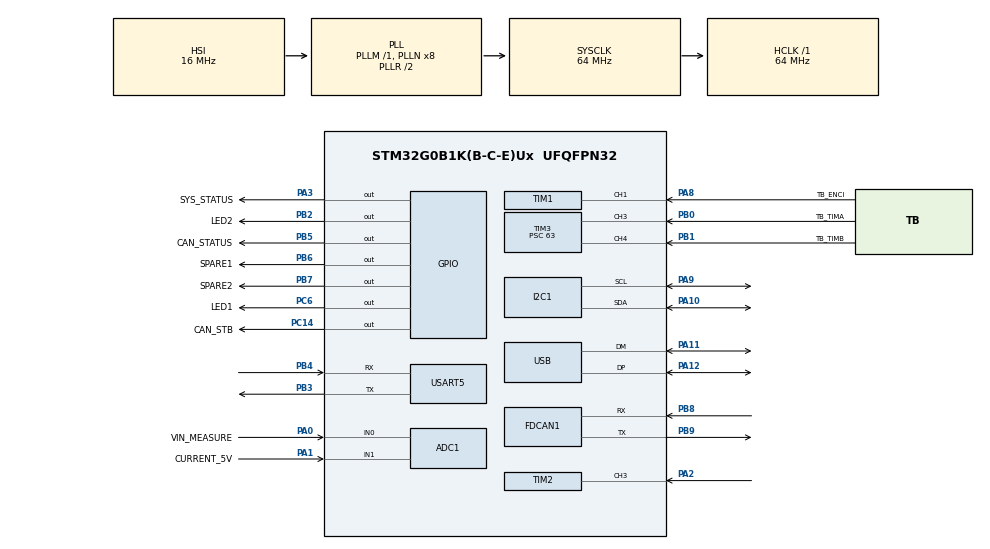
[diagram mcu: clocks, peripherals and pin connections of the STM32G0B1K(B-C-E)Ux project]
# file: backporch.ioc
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ADC1.Channel-0\#ChannelRegularConversion=ADC_CHANNEL_0
ADC1.NbrOfConversionFlag=1
ADC1.Rank-0\#ChannelRegularConversion=1
ADC1.SamplingTime-0\#ChannelRegularConversion=ADC_SAMPLINGTIME_COMMON_1
ADC1.SamplingTimeCommon1=ADC_SAMPLETIME_160CYCLES_5
ADC1.SamplingTimeCommon2=ADC_SAMPLETIME_160CYCLES_5
ADC1.SelectedChannel=ADC_CHANNEL_0|ADC_CHANNEL_1|ADC_CHANNEL_TEMPSENSOR|ADC_CHANNEL_VREFINT
ADC1.master=1
CRC.InputDataFormat=CRC_INPUTDATA_FORMAT_WORDS
FDCAN1.AutoRetransmission=ENABLE
FDCAN1.CalculateBaudRateNominal=1000000
FDCAN1.CalculateTimeBitNominal=1000
FDCAN1.CalculateTimeQuantumNominal=62.5
FDCAN1.FrameFormat=FDCAN_FRAME_FD_BRS
FDCAN1.NominalPrescaler=4
FDCAN1.NominalTimeSeg1=12
FDCAN1.NominalTimeSeg2=3
FREERTOS.Queues01=tofQ,16,uint32_t,0,Static,tofQBuffer,tofQControlBlock
FREERTOS.Tasks01=defaultTask,24,128,StartDefaultTask,Default,NULL,Dynamic,NULL,NULL;canRx,40,128,canRxTask,Default,NULL,Dynamic,NULL,NULL;monTask,8,1024,StartMonTask,Default,NULL,Dynamic,NULL,NULL;canTx,16,128,canTxTask,Default,NULL,Dynamic,NULL,NULL;tof,8,256,tofTask,Default,NULL,Dynamic,NULL,NULL
FREERTOS.configCHECK_FOR_STACK_OVERFLOW=2
FREERTOS.configGENERATE_RUN_TIME_STATS=1
FREERTOS.configTOTAL_HEAP_SIZE=40000
FREERTOS.configUSE_NEWLIB_REENTRANT=0
FREERTOS.configUSE_STATS_FORMATTING_FUNCTIONS=1
I2C1.Timing=0x10B17DB5
IWDG.Prescaler=IWDG_PRESCALER_64
Mcu.Family=STM32G0
Mcu.Name=STM32G0B1K(B-C-E)Ux
Mcu.Package=UFQFPN32
NVIC.ADC1_COMP_IRQn=true\:3\:0\:false\:false\:true\:true\:true\:true\:true
NVIC.RCC_IRQn=true\:3\:0\:false\:false\:true\:true\:true\:false\:true
NVIC.TIM16_FDCAN_IT0_IRQn=true\:3\:0\:false\:false\:true\:true\:true\:true\:true
NVIC.TIM17_FDCAN_IT1_IRQn=true\:3\:0\:false\:false\:true\:true\:true\:true\:true
NVIC.TIM2_IRQn=true\:3\:0\:false\:false\:true\:true\:true\:true\:true
NVIC.TIM3_TIM4_IRQn=true\:3\:0\:false\:false\:true\:true\:true\:true\:true
NVIC.TIM6_DAC_LPTIM1_IRQn=true\:3\:0\:false\:false\:true\:false\:false\:true\:true
NVIC.TimeBase=TIM6_DAC_LPTIM1_IRQn
NVIC.TimeBaseIP=TIM6
NVIC.USB_UCPD1_2_IRQn=true\:3\:0\:false\:false\:true\:true\:true\:true\:true
PA0.GPIO_Label=VIN_MEASURE
PA0.Mode=IN0
PA0.Signal=ADC1_IN0
PA1.GPIO_Label=CURRENT_5V
PA1.Mode=IN1
PA1.Signal=ADC1_IN1
PA10.Mode=I2C
PA10.Signal=I2C1_SDA
PA11\ [PA9].Mode=Device
PA11\ [PA9].Signal=USB_DM
PA12\ [PA10].Mode=Device
PA12\ [PA10].Signal=USB_DP
PA13.Mode=Serial_Wire
PA13.Signal=SYS_SWDIO
PA14-BOOT0.Mode=Serial_Wire
PA14-BOOT0.Signal=SYS_SWCLK
PA2.Signal=S_TIM2_CH3
PA3.GPIO_Label=SYS_STATUS
PA3.Signal=GPIO_Output
PA8.GPIO_Label=TB_ENCI
PA8.Signal=S_TIM1_CH1
PA9.Mode=I2C
PA9.Signal=I2C1_SCL
PB0.GPIO_Label=TB_TIMA
PB0.Signal=S_TIM3_CH3
PB1.GPIO_Label=TB_TIMB
PB1.Signal=S_TIM3_CH4
PB2.GPIO_Label=LED2
PB2.Signal=GPIO_Output
PB3.Mode=Asynchronous
PB3.Signal=USART5_TX
PB4.Mode=Asynchronous
PB4.Signal=USART5_RX
PB5.GPIO_Label=CAN_STATUS
PB5.Signal=GPIO_Output
PB6.GPIO_Label=SPARE1
PB6.Signal=GPIO_Output
PB7.GPIO_Label=SPARE2
PB7.Signal=GPIO_Output
PB8.Mode=FDCAN_Activate
PB8.Signal=FDCAN1_RX
PB9.Mode=FDCAN_Activate
PB9.Signal=FDCAN1_TX
PC14-OSC32_IN\ (PC14).GPIO_Label=CAN_STB
PC14-OSC32_IN\ (PC14).Signal=GPIO_Output
PC6.GPIO_Label=LED1
PC6.Signal=GPIO_Output
ProjectManager.HeapSize=0x200
ProjectManager.StackSize=0x400
ProjectManager.TargetToolchain=CMake
RCC.ADCFreq_Value=64000000
RCC.AHBFreq_Value=64000000
RCC.CortexFreq_Value=64000000
RCC.EXTERNAL_CLOCK_VALUE=48000
RCC.HCLKFreq_Value=64000000
RCC.HSE_VALUE=16000000
RCC.HSI48_VALUE=48000000
RCC.HSI_VALUE=16000000
RCC.LSE_VALUE=32768
RCC.SYSCLKFreq_VALUE=64000000
RCC.SYSCLKSource=RCC_SYSCLKSOURCE_PLLCLK
RCC.USBFreq_Value=48000000
RCC.VCOOutputFreq_Value=128000000
SH.S_TIM1_CH1.0=TIM1_CH1,Input_Capture1_from_TI1
SH.S_TIM2_CH3.0=TIM2_CH3,Input_Capture3_from_TI3
SH.S_TIM3_CH3.0=TIM3_CH3,Input_Capture3_from_TI3
SH.S_TIM3_CH4.0=TIM3_CH4,Input_Capture4_from_TI4
TIM1.Channel-Input_Capture1_from_TI1=TIM_CHANNEL_1
TIM2.Channel-Input_Capture3_from_TI3=TIM_CHANNEL_3
TIM2.Channel-Input_Capture4_from_TI3_63=TIM_CHANNEL_4
TIM2.ICFilter_CH3=1
TIM2.ICPolarity_CH3=TIM_INPUTCHANNELPOLARITY_RISING
TIM2.ICPolarity_CH4=TIM_INPUTCHANNELPOLARITY_FALLING
TIM3.Channel-Input_Capture3_from_TI3=TIM_CHANNEL_3
TIM3.Channel-Input_Capture4_from_TI4=TIM_CHANNEL_4
TIM3.ICPolarity_CH3=TIM_INPUTCHANNELPOLARITY_BOTHEDGE
TIM3.ICPolarity_CH4=TIM_INPUTCHANNELPOLARITY_BOTHEDGE
TIM3.Prescaler=63
USART5.VirtualMode-Asynchronous=VM_ASYNC
USB_DEVICE.CLASS_NAME_FS=CDC
USB_DEVICE.USBD_DEBUG_LEVEL=3
USB_DEVICE.VirtualMode=Cdc
USB_DEVICE.VirtualModeFS=Cdc_FS
VP_ADC1_TempSens_Input.Mode=IN-TempSens
VP_ADC1_Vref_Input.Mode=IN-Vrefint
VP_CRC_VS_CRC.Mode=CRC_Activate
VP_FREERTOS_VS_CMSIS_V2.Mode=CMSIS_V2
VP_IWDG_VS_IWDG.Mode=IWDG_Activate
VP_SYS_VS_DBSignals.Mode=DisableDeadBatterySignals
VP_SYS_VS_tim6.Mode=TIM6
VP_TIM2_VS_indirect_ch3.Mode=Input_Capture4_from_TI3_63
VP_USB_DEVICE_VS_USB_DEVICE_CDC_FS.Mode=CDC_FS
board=custom

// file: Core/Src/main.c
/* USER CODE BEGIN Header */
/**
  ******************************************************************************
  * @file           : main.c
  * @brief          : Main program body
  ******************************************************************************
  * @attention
  *
  * Copyright (c) 2026 STMicroelectronics.
  * All rights reserved.
  *
  * This software is licensed under terms that can be found in the LICENSE file
  * in the root directory of this software component.
  * If no LICENSE file comes with this software, it is provided AS-IS.
  *
  ******************************************************************************
  */
/* USER CODE END Header */
#include "main.h"
#include "cmsis_os.h"
#include "usb_device.h"

/* USER CODE BEGIN Includes */
#include "usbd_cdc_if.h"
#include <stdlib.h>
#include <string.h>
#include "stm32g0xx_ll_adc.h"
#include <stdio.h>
#include "common.h"
#include "version.h"
#include "FreeRTOS.h"
#include "task.h"
#include "app_tof.h"
/* USER CODE END Includes */

typedef StaticQueue_t osStaticMessageQDef_t;

ADC_HandleTypeDef hadc1;

CRC_HandleTypeDef hcrc;

FDCAN_HandleTypeDef hfdcan1;

I2C_HandleTypeDef hi2c1;

IWDG_HandleTypeDef hiwdg;

TIM_HandleTypeDef htim1;
TIM_HandleTypeDef htim2;
TIM_HandleTypeDef htim3;

UART_HandleTypeDef huart5;

/* Definitions for defaultTask */
osThreadId_t defaultTaskHandle;
const osThreadAttr_t defaultTask_attributes = {
  .name = "defaultTask",
  .priority = (osPriority_t) osPriorityNormal,
  .stack_size = 128 * 4
};
/* Definitions for canRx */
osThreadId_t canRxHandle;
const osThreadAttr_t canRx_attributes = {
  .name = "canRx",
  .priority = (osPriority_t) osPriorityHigh,
  .stack_size = 128 * 4
};
/* Definitions for monTask */
osThreadId_t monTaskHandle;
const osThreadAttr_t monTask_attributes = {
  .name = "monTask",
  .priority = (osPriority_t) osPriorityLow,
  .stack_size = 1024 * 4
};
/* Definitions for canTx */
osThreadId_t canTxHandle;
const osThreadAttr_t canTx_attributes = {
  .name = "canTx",
  .priority = (osPriority_t) osPriorityBelowNormal,
  .stack_size = 128 * 4
};
/* Definitions for tof */
osThreadId_t tofHandle;
const osThreadAttr_t tof_attributes = {
  .name = "tof",
  .priority = (osPriority_t) osPriorityLow,
  .stack_size = 256 * 4
};
/* Definitions for tofQ */
osMessageQueueId_t tofQHandle;
uint8_t tofQBuffer[ 16 * sizeof( uint32_t ) ];
osStaticMessageQDef_t tofQControlBlock;
const osMessageQueueAttr_t tofQ_attributes = {
  .name = "tofQ",
  .cb_mem = &tofQControlBlock,
  .cb_size = sizeof(tofQControlBlock),
  .mq_mem = &tofQBuffer,
  .mq_size = sizeof(tofQBuffer)
};
/* USER CODE BEGIN PV */
osMutexId_t uartMutexHandle;
const osMutexAttr_t uartMutex_attributes = {
  .name = "uartMutex"
};
void uart5_puts(const char * str);
volatile int32_t pulse_width_1000deg = 0;
volatile int32_t enc1_count = 0;
volatile uint8_t enc1_prev_state = 0;
volatile uint32_t can_rx_msg_count = 0;
volatile uint32_t last_rx_id = 0;
uint8_t g_device_id = 0;
uint32_t hashed_id_ = 0;

void load_config() {
    BootConfig_t *cfg = (BootConfig_t *)BOOT_CONFIG_ADDR;
    if (cfg->magic == BOOT_CONFIG_MAGIC) {
        g_device_id = cfg->deviceID & 0x3F;
    } else {
        g_device_id = 0; // Default
    }
}

void save_config(uint8_t new_id) {
    //char msg[64];
    extern CRC_HandleTypeDef hcrc;

    /* Read existing config from flash */
    BootConfig_t* flashConfig = (BootConfig_t *)BOOT_CONFIG_ADDR;

    /* Prepare new config in RAM at the designated location */
    BootConfig_t* ramConfig = RAM_CONFIG_ADDR;

    /* Start with current flash config if valid, otherwise zero */
    if (flashConfig->magic == BOOT_CONFIG_MAGIC) {
        memcpy(ramConfig, flashConfig, sizeof(BootConfig_t));
    } else {
        memset(ramConfig, 0, sizeof(BootConfig_t));
    }

    /* Update the deviceID */
    ramConfig->magic = BOOT_CONFIG_MAGIC;
    ramConfig->deviceID = new_id;

    /* Calculate CRC over appSize through reserved[] (exclude magic and crc fields) */
    /* CRC covers: appSize, appCrc, deviceID, reserved[1004] = 1016 bytes = 254 words */
    ramConfig->crc = HAL_CRC_Calculate(&hcrc, (uint32_t*)&ramConfig->appSize,
                                       (sizeof(BootConfig_t) - 8) / 4); /* 8 = sizeof(magic) + sizeof(crc) */

    /* Set the magic word to trigger config programming on reboot */
    *MAGIC_WORD_ADDR = MAGIC_WORD_PROGRAM_CONFIG;

    __disable_irq();
    HAL_NVIC_SystemReset();
}
/* USER CODE END PV */

void SystemClock_Config(void);
static void MX_GPIO_Init(void);
static void MX_ADC1_Init(void);
static void MX_FDCAN1_Init(void);
static void MX_TIM3_Init(void);
static void MX_I2C1_Init(void);
static void MX_TIM1_Init(void);
static void MX_USART5_UART_Init(void);
static void MX_TIM2_Init(void);
static void MX_IWDG_Init(void);
static void MX_CRC_Init(void);
void StartDefaultTask(void *argument);
void canRxTask(void *argument);
void StartMonTask(void *argument);
void canTxTask(void *argument);
void tofTask(void *argument);

/* USER CODE BEGIN 0 */
void txstring(const char * str)
{
    int len = strlen(str);
    CDC_Transmit_FS((uint8_t*)str, len);
}

void uart5_puts(const char * str)
{
    if (uartMutexHandle != NULL) {
        osMutexAcquire(uartMutexHandle, osWaitForever);
    }
    HAL_UART_Transmit(&huart5, (uint8_t*)str, strlen(str), 100);
    if (uartMutexHandle != NULL) {
        osMutexRelease(uartMutexHandle);
    }
}

void configureTimerForRunTimeStats(void)
{
  // TIM2 is already configured and started for input capture
}

unsigned long getRunTimeCounterValue(void)
{
  return TIM2->CNT;
}

uint32_t murmur3_32(const uint8_t* key, size_t len, uint32_t seed)
{
  uint32_t h = seed;
  uint32_t k;
  const uint32_t* data = (const uint32_t*)key;
  const size_t nblocks = len / 4;

  for (size_t i = 0; i < nblocks; i++) {
    k = data[i];
    k *= 0xcc9e2d51;
    k = (k << 15) | (k >> 17);
    k *= 0x1b873593;
    h ^= k;
    h = (h << 13) | (h >> 19);
    h = h * 5 + 0xe6546b64;
  }

  const uint8_t* tail = (const uint8_t*)(key + nblocks * 4);
  k = 0;
  switch (len & 3) {
    case 3: k ^= tail[2] << 16;
    case 2: k ^= tail[1] << 8;
    case 1: k ^= tail[0];
            k *= 0xcc9e2d51;
            k = (k << 15) | (k >> 17);
            k *= 0x1b873593;
            h ^= k;
  }

  h ^= len;
  h ^= h >> 16;
  h *= 0x85ebca6b;
  h ^= h >> 13;
  h *= 0xc2b2ae35;
  h ^= h >> 16;
  return h;
}

/* USER CODE END 0 */

int main(void)
{

  /* MCU Configuration--------------------------------------------------------*/

  /* Reset of all peripherals, Initializes the Flash interface and the Systick. */
  HAL_Init();

  /* Configure the system clock */
  SystemClock_Config();

  /* Initialize all configured peripherals */
  MX_GPIO_Init();
  MX_ADC1_Init();
  MX_FDCAN1_Init();
  MX_TIM3_Init();
  MX_I2C1_Init();
  MX_TIM1_Init();
  MX_USART5_UART_Init();
  MX_TIM2_Init();
  MX_IWDG_Init();
  MX_CRC_Init();
  /* USER CODE BEGIN 2 */
  HAL_ADCEx_Calibration_Start(&hadc1);
  HAL_IWDG_Refresh(&hiwdg); // Early refresh

  load_config(); // Load device ID from flash

  HAL_GPIO_WritePin(LED1_GPIO_Port, LED1_Pin, 1);
  HAL_GPIO_WritePin(LED2_GPIO_Port, LED2_Pin, 1);

  /* USER CODE END 2 */

  /* Init scheduler */
  osKernelInitialize();

  /* USER CODE BEGIN RTOS_MUTEX */
  /* add mutexes, ... */
  uartMutexHandle = osMutexNew(&uartMutex_attributes);
  /* USER CODE END RTOS_MUTEX */

  /* Create the queue(s) */
  /* creation of tofQ */
  tofQHandle = osMessageQueueNew (16, sizeof(uint32_t), &tofQ_attributes);

  /* Create the thread(s) */
  /* creation of defaultTask */
  defaultTaskHandle = osThreadNew(StartDefaultTask, NULL, &defaultTask_attributes);

  /* creation of canRx */
  canRxHandle = osThreadNew(canRxTask, NULL, &canRx_attributes);

  /* creation of monTask */
  monTaskHandle = osThreadNew(StartMonTask, NULL, &monTask_attributes);

  /* creation of canTx */
  canTxHandle = osThreadNew(canTxTask, NULL, &canTx_attributes);

  /* creation of tof */
  tofHandle = osThreadNew(tofTask, NULL, &tof_attributes);

  /* USER CODE BEGIN RTOS_EVENTS */
  uint32_t uid[3];
  uid[0] = HAL_GetUIDw0();
  uid[1] = HAL_GetUIDw1();
  uid[2] = HAL_GetUIDw2();
  hashed_id_ = murmur3_32((uint8_t*)uid, 12, 0);
  /* USER CODE END RTOS_EVENTS */

  /* Start scheduler */
  osKernelStart();

  /* We should never get here as control is now taken by the scheduler */

  /* Infinite loop */
  while (1)
  {

  }
}

void SystemClock_Config(void)
{
  RCC_OscInitTypeDef RCC_OscInitStruct = {0};
  RCC_ClkInitTypeDef RCC_ClkInitStruct = {0};

  /** Configure the main internal regulator output voltage
  */
  HAL_PWREx_ControlVoltageScaling(PWR_REGULATOR_VOLTAGE_SCALE1);

  /** Initializes the RCC Oscillators according to the specified parameters
  * in the RCC_OscInitTypeDef structure.
  */
  RCC_OscInitStruct.OscillatorType = RCC_OSCILLATORTYPE_HSI|RCC_OSCILLATORTYPE_LSI
                              |RCC_OSCILLATORTYPE_HSI48;
  RCC_OscInitStruct.HSIState = RCC_HSI_ON;
  RCC_OscInitStruct.HSI48State = RCC_HSI48_ON;
  RCC_OscInitStruct.HSIDiv = RCC_HSI_DIV1;
  RCC_OscInitStruct.HSICalibrationValue = RCC_HSICALIBRATION_DEFAULT;
  RCC_OscInitStruct.LSIState = RCC_LSI_ON;
  RCC_OscInitStruct.PLL.PLLState = RCC_PLL_ON;
  RCC_OscInitStruct.PLL.PLLSource = RCC_PLLSOURCE_HSI;
  RCC_OscInitStruct.PLL.PLLM = RCC_PLLM_DIV1;
  RCC_OscInitStruct.PLL.PLLN = 8;
  RCC_OscInitStruct.PLL.PLLP = RCC_PLLP_DIV2;
  RCC_OscInitStruct.PLL.PLLQ = RCC_PLLQ_DIV2;
  RCC_OscInitStruct.PLL.PLLR = RCC_PLLR_DIV2;
  if (HAL_RCC_OscConfig(&RCC_OscInitStruct) != HAL_OK)
  {
    Error_Handler();
  }

  /** Initializes the CPU, AHB and APB buses clocks
  */
  RCC_ClkInitStruct.ClockType = RCC_CLOCKTYPE_HCLK|RCC_CLOCKTYPE_SYSCLK
                              |RCC_CLOCKTYPE_PCLK1;
  RCC_ClkInitStruct.SYSCLKSource = RCC_SYSCLKSOURCE_PLLCLK;
  RCC_ClkInitStruct.AHBCLKDivider = RCC_SYSCLK_DIV1;
  RCC_ClkInitStruct.APB1CLKDivider = RCC_HCLK_DIV1;

  if (HAL_RCC_ClockConfig(&RCC_ClkInitStruct, FLASH_LATENCY_2) != HAL_OK)
  {
    Error_Handler();
  }
}

static void MX_ADC1_Init(void)
{

  ADC_ChannelConfTypeDef sConfig = {0};

  /** Configure the global features of the ADC (Clock, Resolution, Data Alignment and number of conversion)
  */
  hadc1.Instance = ADC1;
  hadc1.Init.ClockPrescaler = ADC_CLOCK_SYNC_PCLK_DIV2;
  hadc1.Init.Resolution = ADC_RESOLUTION_12B;
  hadc1.Init.DataAlign = ADC_DATAALIGN_RIGHT;
  hadc1.Init.ScanConvMode = ADC_SCAN_DISABLE;
  hadc1.Init.EOCSelection = ADC_EOC_SINGLE_CONV;
  hadc1.Init.LowPowerAutoWait = DISABLE;
  hadc1.Init.LowPowerAutoPowerOff = DISABLE;
  hadc1.Init.ContinuousConvMode = DISABLE;
  hadc1.Init.NbrOfConversion = 1;
  hadc1.Init.DiscontinuousConvMode = DISABLE;
  hadc1.Init.ExternalTrigConv = ADC_SOFTWARE_START;
  hadc1.Init.ExternalTrigConvEdge = ADC_EXTERNALTRIGCONVEDGE_NONE;
  hadc1.Init.DMAContinuousRequests = DISABLE;
  hadc1.Init.Overrun = ADC_OVR_DATA_PRESERVED;
  hadc1.Init.SamplingTimeCommon1 = ADC_SAMPLETIME_160CYCLES_5;
  hadc1.Init.SamplingTimeCommon2 = ADC_SAMPLETIME_160CYCLES_5;
  hadc1.Init.OversamplingMode = DISABLE;
  hadc1.Init.TriggerFrequencyMode = ADC_TRIGGER_FREQ_HIGH;
  if (HAL_ADC_Init(&hadc1) != HAL_OK)
  {
    Error_Handler();
  }

  /** Configure Regular Channel
  */
  sConfig.Channel = ADC_CHANNEL_0;
  sConfig.Rank = ADC_REGULAR_RANK_1;
  sConfig.SamplingTime = ADC_SAMPLINGTIME_COMMON_1;
  if (HAL_ADC_ConfigChannel(&hadc1, &sConfig) != HAL_OK)
  {
    Error_Handler();
  }

}

static void MX_CRC_Init(void)
{

  hcrc.Instance = CRC;
  hcrc.Init.DefaultPolynomialUse = DEFAULT_POLYNOMIAL_ENABLE;
  hcrc.Init.DefaultInitValueUse = DEFAULT_INIT_VALUE_ENABLE;
  hcrc.Init.InputDataInversionMode = CRC_INPUTDATA_INVERSION_NONE;
  hcrc.Init.OutputDataInversionMode = CRC_OUTPUTDATA_INVERSION_DISABLE;
  hcrc.InputDataFormat = CRC_INPUTDATA_FORMAT_WORDS;
  if (HAL_CRC_Init(&hcrc) != HAL_OK)
  {
    Error_Handler();
  }

}

static void MX_FDCAN1_Init(void)
{

  hfdcan1.Instance = FDCAN1;
  hfdcan1.Init.ClockDivider = FDCAN_CLOCK_DIV1;
  hfdcan1.Init.FrameFormat = FDCAN_FRAME_FD_BRS;
  hfdcan1.Init.Mode = FDCAN_MODE_NORMAL;
  hfdcan1.Init.AutoRetransmission = ENABLE;
  hfdcan1.Init.TransmitPause = DISABLE;
  hfdcan1.Init.ProtocolException = DISABLE;
  hfdcan1.Init.NominalPrescaler = 4;
  hfdcan1.Init.NominalSyncJumpWidth = 1;
  hfdcan1.Init.NominalTimeSeg1 = 12;
  hfdcan1.Init.NominalTimeSeg2 = 3;
  hfdcan1.Init.DataPrescaler = 1;
  hfdcan1.Init.DataSyncJumpWidth = 1;
  hfdcan1.Init.DataTimeSeg1 = 1;
  hfdcan1.Init.DataTimeSeg2 = 1;
  hfdcan1.Init.StdFiltersNbr = 0;
  hfdcan1.Init.ExtFiltersNbr = 0;
  hfdcan1.Init.TxFifoQueueMode = FDCAN_TX_FIFO_OPERATION;
  if (HAL_FDCAN_Init(&hfdcan1) != HAL_OK)
  {
    Error_Handler();
  }

}

static void MX_I2C1_Init(void)
{

  hi2c1.Instance = I2C1;
  hi2c1.Init.Timing = 0x10B17DB5;
  hi2c1.Init.OwnAddress1 = 0;
  hi2c1.Init.AddressingMode = I2C_ADDRESSINGMODE_7BIT;
  hi2c1.Init.DualAddressMode = I2C_DUALADDRESS_DISABLE;
  hi2c1.Init.OwnAddress2 = 0;
  hi2c1.Init.OwnAddress2Masks = I2C_OA2_NOMASK;
  hi2c1.Init.GeneralCallMode = I2C_GENERALCALL_DISABLE;
  hi2c1.Init.NoStretchMode = I2C_NOSTRETCH_DISABLE;
  if (HAL_I2C_Init(&hi2c1) != HAL_OK)
  {
    Error_Handler();
  }

  /** Configure Analogue filter
  */
  if (HAL_I2CEx_ConfigAnalogFilter(&hi2c1, I2C_ANALOGFILTER_ENABLE) != HAL_OK)
  {
    Error_Handler();
  }

  /** Configure Digital filter
  */
  if (HAL_I2CEx_ConfigDigitalFilter(&hi2c1, 0) != HAL_OK)
  {
    Error_Handler();
  }

}

static void MX_IWDG_Init(void)
{

  hiwdg.Instance = IWDG;
  hiwdg.Init.Prescaler = IWDG_PRESCALER_64;
  hiwdg.Init.Window = 4095;
  hiwdg.Init.Reload = 4095;
  if (HAL_IWDG_Init(&hiwdg) != HAL_OK)
  {
    Error_Handler();
  }

}

static void MX_TIM1_Init(void)
{

  TIM_MasterConfigTypeDef sMasterConfig = {0};
  TIM_IC_InitTypeDef sConfigIC = {0};

  htim1.Instance = TIM1;
  htim1.Init.Prescaler = 0;
  htim1.Init.CounterMode = TIM_COUNTERMODE_UP;
  htim1.Init.Period = 65535;
  htim1.Init.ClockDivision = TIM_CLOCKDIVISION_DIV1;
  htim1.Init.RepetitionCounter = 0;
  htim1.Init.AutoReloadPreload = TIM_AUTORELOAD_PRELOAD_DISABLE;
  if (HAL_TIM_IC_Init(&htim1) != HAL_OK)
  {
    Error_Handler();
  }
  sMasterConfig.MasterOutputTrigger = TIM_TRGO_RESET;
  sMasterConfig.MasterOutputTrigger2 = TIM_TRGO2_RESET;
  sMasterConfig.MasterSlaveMode = TIM_MASTERSLAVEMODE_DISABLE;
  if (HAL_TIMEx_MasterConfigSynchronization(&htim1, &sMasterConfig) != HAL_OK)
  {
    Error_Handler();
  }
  sConfigIC.ICPolarity = TIM_INPUTCHANNELPOLARITY_RISING;
  sConfigIC.ICSelection = TIM_ICSELECTION_DIRECTTI;
  sConfigIC.ICPrescaler = TIM_ICPSC_DIV1;
  sConfigIC.ICFilter = 0;
  if (HAL_TIM_IC_ConfigChannel(&htim1, &sConfigIC, TIM_CHANNEL_1) != HAL_OK)
  {
    Error_Handler();
  }

}

static void MX_TIM2_Init(void)
{

  TIM_MasterConfigTypeDef sMasterConfig = {0};
  TIM_IC_InitTypeDef sConfigIC = {0};

  htim2.Instance = TIM2;
  htim2.Init.Prescaler = 0;
  htim2.Init.CounterMode = TIM_COUNTERMODE_UP;
  htim2.Init.Period = 4294967295;
  htim2.Init.ClockDivision = TIM_CLOCKDIVISION_DIV1;
  htim2.Init.AutoReloadPreload = TIM_AUTORELOAD_PRELOAD_DISABLE;
  if (HAL_TIM_IC_Init(&htim2) != HAL_OK)
  {
    Error_Handler();
  }
  sMasterConfig.MasterOutputTrigger = TIM_TRGO_RESET;
  sMasterConfig.MasterSlaveMode = TIM_MASTERSLAVEMODE_DISABLE;
  if (HAL_TIMEx_MasterConfigSynchronization(&htim2, &sMasterConfig) != HAL_OK)
  {
    Error_Handler();
  }
  sConfigIC.ICPolarity = TIM_INPUTCHANNELPOLARITY_RISING;
  sConfigIC.ICSelection = TIM_ICSELECTION_DIRECTTI;
  sConfigIC.ICPrescaler = TIM_ICPSC_DIV1;
  sConfigIC.ICFilter = 1;
  if (HAL_TIM_IC_ConfigChannel(&htim2, &sConfigIC, TIM_CHANNEL_3) != HAL_OK)
  {
    Error_Handler();
  }
  sConfigIC.ICPolarity = TIM_INPUTCHANNELPOLARITY_FALLING;
  sConfigIC.ICSelection = TIM_ICSELECTION_INDIRECTTI;
  sConfigIC.ICFilter = 0;
  if (HAL_TIM_IC_ConfigChannel(&htim2, &sConfigIC, TIM_CHANNEL_4) != HAL_OK)
  {
    Error_Handler();
  }

}

static void MX_TIM3_Init(void)
{

  TIM_MasterConfigTypeDef sMasterConfig = {0};
  TIM_IC_InitTypeDef sConfigIC = {0};

  htim3.Instance = TIM3;
  htim3.Init.Prescaler = 63;
  htim3.Init.CounterMode = TIM_COUNTERMODE_UP;
  htim3.Init.Period = 65535;
  htim3.Init.ClockDivision = TIM_CLOCKDIVISION_DIV1;
  htim3.Init.AutoReloadPreload = TIM_AUTORELOAD_PRELOAD_DISABLE;
  if (HAL_TIM_IC_Init(&htim3) != HAL_OK)
  {
    Error_Handler();
  }
  sMasterConfig.MasterOutputTrigger = TIM_TRGO_RESET;
  sMasterConfig.MasterSlaveMode = TIM_MASTERSLAVEMODE_DISABLE;
  if (HAL_TIMEx_MasterConfigSynchronization(&htim3, &sMasterConfig) != HAL_OK)
  {
    Error_Handler();
  }
  sConfigIC.ICPolarity = TIM_INPUTCHANNELPOLARITY_BOTHEDGE;
  sConfigIC.ICSelection = TIM_ICSELECTION_DIRECTTI;
  sConfigIC.ICPrescaler = TIM_ICPSC_DIV1;
  sConfigIC.ICFilter = 0;
  if (HAL_TIM_IC_ConfigChannel(&htim3, &sConfigIC, TIM_CHANNEL_3) != HAL_OK)
  {
    Error_Handler();
  }
  if (HAL_TIM_IC_ConfigChannel(&htim3, &sConfigIC, TIM_CHANNEL_4) != HAL_OK)
  {
    Error_Handler();
  }

}

static void MX_USART5_UART_Init(void)
{

  huart5.Instance = USART5;
  huart5.Init.BaudRate = 115200;
  huart5.Init.WordLength = UART_WORDLENGTH_8B;
  huart5.Init.StopBits = UART_STOPBITS_1;
  huart5.Init.Parity = UART_PARITY_NONE;
  huart5.Init.Mode = UART_MODE_TX_RX;
  huart5.Init.HwFlowCtl = UART_HWCONTROL_NONE;
  huart5.Init.OverSampling = UART_OVERSAMPLING_16;
  huart5.Init.OneBitSampling = UART_ONE_BIT_SAMPLE_DISABLE;
  huart5.Init.ClockPrescaler = UART_PRESCALER_DIV1;
  huart5.AdvancedInit.AdvFeatureInit = UART_ADVFEATURE_NO_INIT;
  if (HAL_UART_Init(&huart5) != HAL_OK)
  {
    Error_Handler();
  }

}

static void MX_GPIO_Init(void)
{
  GPIO_InitTypeDef GPIO_InitStruct = {0};

  /* GPIO Ports Clock Enable */
  __HAL_RCC_GPIOB_CLK_ENABLE();
  __HAL_RCC_GPIOC_CLK_ENABLE();
  __HAL_RCC_GPIOA_CLK_ENABLE();

  /*Configure GPIO pin Output Level */
  HAL_GPIO_WritePin(GPIOC, CAN_STB_Pin|LED1_Pin, GPIO_PIN_RESET);

  /*Configure GPIO pin Output Level */
  HAL_GPIO_WritePin(SYS_STATUS_GPIO_Port, SYS_STATUS_Pin, GPIO_PIN_RESET);

  /*Configure GPIO pin Output Level */
  HAL_GPIO_WritePin(GPIOB, LED2_Pin|CAN_STATUS_Pin|SPARE1_Pin|SPARE2_Pin, GPIO_PIN_RESET);

  /*Configure GPIO pins : CAN_STB_Pin LED1_Pin */
  GPIO_InitStruct.Pin = CAN_STB_Pin|LED1_Pin;
  GPIO_InitStruct.Mode = GPIO_MODE_OUTPUT_PP;
  GPIO_InitStruct.Pull = GPIO_NOPULL;
  GPIO_InitStruct.Speed = GPIO_SPEED_FREQ_LOW;
  HAL_GPIO_Init(GPIOC, &GPIO_InitStruct);

  /*Configure GPIO pin : SYS_STATUS_Pin */
  GPIO_InitStruct.Pin = SYS_STATUS_Pin;
  GPIO_InitStruct.Mode = GPIO_MODE_OUTPUT_PP;
  GPIO_InitStruct.Pull = GPIO_NOPULL;
  GPIO_InitStruct.Speed = GPIO_SPEED_FREQ_LOW;
  HAL_GPIO_Init(SYS_STATUS_GPIO_Port, &GPIO_InitStruct);

  /*Configure GPIO pins : LED2_Pin CAN_STATUS_Pin SPARE1_Pin SPARE2_Pin */
  GPIO_InitStruct.Pin = LED2_Pin|CAN_STATUS_Pin|SPARE1_Pin|SPARE2_Pin;
  GPIO_InitStruct.Mode = GPIO_MODE_OUTPUT_PP;
  GPIO_InitStruct.Pull = GPIO_NOPULL;
  GPIO_InitStruct.Speed = GPIO_SPEED_FREQ_LOW;
  HAL_GPIO_Init(GPIOB, &GPIO_InitStruct);

}

/* USER CODE BEGIN 4 */

void HAL_TIM_IC_CaptureCallback(TIM_HandleTypeDef *htim)
{
  if (htim->Instance == TIM2 && htim->Channel == HAL_TIM_ACTIVE_CHANNEL_4)
  {
    uint32_t t_rise = HAL_TIM_ReadCapturedValue(htim, TIM_CHANNEL_3);
    uint32_t t_fall = HAL_TIM_ReadCapturedValue(htim, TIM_CHANNEL_4);

    uint32_t pulse_width = t_fall - t_rise;
    /*
    Refer to this for the Rev Through Bore Encoder Pulse Width specification:
    https://docs.broadcom.com/doc/pub-005892

    1025 us is the max value. We have a 64 MHz clock, therefore the max value should be 65600
    PWM period: 1025

      t=0us  t=1us                             t=1024us  t=1025us
        |      |                                   |         |
        v      v                                   v         v
      +---+                                                +---+
PWM   |   |                                                |   |  Absolute position = 16'h0
      +   +------------------------------------------------+   +
      :   :                                                :   :
      :   :                                                :   :
      +   +------------------------------------------------+   +
PWM   |                                                        |  Absolute position = 16'hFFFF
      +---+                                                +---+
        ^      ^                                   ^         ^
        |      |                                   |         |
      t=0us  t=1us                             t=1024us  t=1025us
    */
    if (pulse_width > 65600)
    {
      pulse_width = t_rise - t_fall;
    }
    int pulse_width_us = pulse_width / 64;
    pulse_width_1000deg = (pulse_width_us * 36000) / 1025;
  }
  else if (htim->Instance == TIM3)
  {
    // Software Quadrature Decoder for TIM3 CH3 (PB0) and CH4 (PB1)
    // TIM3_CH3 is PB0, TIM3_CH4 is PB1
    uint8_t a = (GPIOB->IDR & GPIO_PIN_0) ? 1 : 0;
    uint8_t b = (GPIOB->IDR & GPIO_PIN_1) ? 1 : 0;
    uint8_t curr_state = (a << 1) | b;
    static const int8_t q_table[16] = {0, 1, -1, 0, -1, 0, 0, 1, 1, 0, 0, -1, 0, -1, 1, 0};

    enc1_count += q_table[(enc1_prev_state << 2) | curr_state];
    enc1_prev_state = curr_state;
  }
}

/* USER CODE END 4 */

void StartDefaultTask(void *argument)
{
  /* init code for USB_Device */
  MX_USB_Device_Init();
  /* USER CODE BEGIN 5 */

  /* Infinite loop */
  for(;;)
  {
    osDelay(100);
  }
  /* USER CODE END 5 */
}

void canRxTask(void *argument)
{
  /* USER CODE BEGIN canRxTask */
  HAL_GPIO_WritePin(CAN_STB_GPIO_Port, CAN_STB_Pin, GPIO_PIN_RESET);

  HAL_FDCAN_Stop(&hfdcan1); // Ensure it's stopped before configuring filter

  FDCAN_FilterTypeDef sFilterConfig;
  sFilterConfig.IdType = FDCAN_EXTENDED_ID;
  sFilterConfig.FilterIndex = 0;
  sFilterConfig.FilterType = FDCAN_FILTER_MASK;
  sFilterConfig.FilterConfig = FDCAN_FILTER_TO_RXFIFO0;
  // Temporary: Accept ALL messages for debugging
  sFilterConfig.FilterID1 = 0;
  sFilterConfig.FilterID2 = 0;
  HAL_FDCAN_ConfigFilter(&hfdcan1, &sFilterConfig);

  HAL_FDCAN_Start(&hfdcan1);

  /* Infinite loop */
  for(;;)
  {
    // Handle Incoming CAN messages
    FDCAN_RxHeaderTypeDef rxHeader;
    uint8_t rxData[8];
    while (HAL_FDCAN_GetRxMessage(&hfdcan1, FDCAN_RX_FIFO0, &rxHeader, rxData) == HAL_OK)
    {
        can_rx_msg_count++;
        last_rx_id = rxHeader.Identifier;
        if (rxHeader.Identifier == WPILIB_HEARTBEAT_ID)
        {
            HAL_GPIO_TogglePin(CAN_STATUS_GPIO_Port, CAN_STATUS_Pin);
        }

        uint32_t apiClass = (rxHeader.Identifier >> 10) & 0x3F;
        uint32_t devId = rxHeader.Identifier & 0x3F;

        if (apiClass == 0 && devId == 0) { // System Broadcast Class
            uint32_t target_uid = *((uint32_t *)&rxData[0]);
            if (target_uid == hashed_id_) {
                uint8_t new_id = rxData[4] & 0x3F;
                save_config(new_id); // Does not return - reboots to program config via bootloader
            }
        }

        if (apiClass == 1 && devId == g_device_id) { // Control Class for OUR device
            uint8_t cmd = rxData[0];
            if (cmd == CAN_CMD_START) {
                // Send ACK 0xAA 0x01 to indicate app-to-bootloader transition
                FDCAN_TxHeaderTypeDef txHeader;
                txHeader.Identifier = rxHeader.Identifier;
                txHeader.IdType = FDCAN_EXTENDED_ID;
                txHeader.TxFrameType = FDCAN_DATA_FRAME;
                txHeader.DataLength = FDCAN_DLC_BYTES_8;
                txHeader.ErrorStateIndicator = FDCAN_ESI_ACTIVE;
                txHeader.BitRateSwitch = FDCAN_BRS_OFF;
                txHeader.FDFormat = FDCAN_CLASSIC_CAN;
                txHeader.TxEventFifoControl = FDCAN_NO_TX_EVENTS;
                txHeader.MessageMarker = 0;

                uint8_t ackData[8] = {0xAA, 0x01, 0, 0, 0, 0, 0, 0};
                HAL_FDCAN_AddMessageToTxFifoQ(&hfdcan1, &txHeader, ackData);

                // Set Magic Word and Reboot (survives bootloader startup at this address)
                *MAGIC_WORD_ADDR = MAGIC_WORD_PROGRAM_FW;
                __disable_irq();
                HAL_NVIC_SystemReset();
              }
            }
    }
    osDelay(1);
  }
  /* USER CODE END canRxTask */
}

/* USER CODE BEGIN Header_StartMonTask */
/**
* @brief Function implementing the monTask thread.
* @param argument: Not used
* @retval None
*/
static int compareTaskStatus(const void *a, const void *b)
{
    const TaskStatus_t *p1 = (const TaskStatus_t *)a;
    const TaskStatus_t *p2 = (const TaskStatus_t *)b;
    if (p1->xTaskNumber < p2->xTaskNumber) return -1;
    if (p1->xTaskNumber > p2->xTaskNumber) return 1;
    return 0;
}
/* USER CODE END Header_StartMonTask */
void StartMonTask(void *argument)
{
  /* USER CODE BEGIN StartMonTask */
  char stats_buffer[1024];
  /* Infinite loop */
  for(;;)
  {
    osDelay(1000);
    HAL_IWDG_Refresh(&hiwdg);

    // Clear screen and home cursor
    uart5_puts("\r\n\r\n");

    // Header
    uart5_puts("================ SYSTEM PERFORMANCE MONITOR ================\r\n");

    // Stack and Task Info
    uart5_puts("--- Task Status ---\r\n");
    uart5_puts("Name             State  Prio  FreeStack(Words)  ID\r\n");
    uart5_puts("----------------------------------------------------------\r\n");
    vTaskList(stats_buffer);
    uart5_puts(stats_buffer);

    // CPU Usage
    uart5_puts("\r\n--- CPU Usage ---\r\n");
    uart5_puts("Name             Abs Time       Time %\r\n");
    uart5_puts("----------------------------------------------------------\r\n");

    UBaseType_t uxArraySize = uxTaskGetNumberOfTasks();
    TaskStatus_t *pxTaskStatusArray = pvPortMalloc(uxArraySize * sizeof(TaskStatus_t));

    if (pxTaskStatusArray != NULL) {
        uint32_t ulTotalRunTime;
        uxArraySize = uxTaskGetSystemState(pxTaskStatusArray, uxArraySize, &ulTotalRunTime);

        if (ulTotalRunTime > 0) {
            // Sort by Task ID (xTaskNumber)
            qsort(pxTaskStatusArray, uxArraySize, sizeof(TaskStatus_t), compareTaskStatus);

            for (UBaseType_t x = 0; x < uxArraySize; x++) {
                uint32_t ulStatsAsPercentage = (uint32_t)((uint64_t)pxTaskStatusArray[x].ulRunTimeCounter * 10000 / ulTotalRunTime);
                uint32_t integral = ulStatsAsPercentage / 100;
                uint32_t fractional = ulStatsAsPercentage % 100;

                sprintf(stats_buffer, "%-16s %-14lu %2lu.%02lu%%\r\n",
                        pxTaskStatusArray[x].pcTaskName,
                        (unsigned long)pxTaskStatusArray[x].ulRunTimeCounter,
                        (unsigned long)integral, (unsigned long)fractional);
                uart5_puts(stats_buffer);
            }
        }
        vPortFree(pxTaskStatusArray);
    }

    //Heap Info
    uart5_puts("\r\n--- Memory Info ---\r\n");
    char heap_str[64];
    sprintf(heap_str, "Free Heap: %u bytes\r\n", (unsigned int)xPortGetFreeHeapSize());
    uart5_puts(heap_str);

    snprintf(stats_buffer, sizeof(stats_buffer),
             "\r\n--- CAN Debug ---\r\n"
             "CAN Rx Count: %lu\r\n"
             "Last Rx ID: 0x%08lX\r\n",
             (unsigned long)can_rx_msg_count, (unsigned long)last_rx_id);
    uart5_puts(stats_buffer);

    HAL_GPIO_TogglePin(SYS_STATUS_GPIO_Port, SYS_STATUS_Pin);

  }
  /* USER CODE END StartMonTask */
}

void canTxTask(void *argument)
{
  /* USER CODE BEGIN canTxTask */
  HAL_TIM_IC_Start(&htim2, TIM_CHANNEL_3);
  HAL_TIM_IC_Start_IT(&htim2, TIM_CHANNEL_4);

  // Start TIM3 software encoder (Interrupts on both edges)
  HAL_TIM_IC_Start_IT(&htim3, TIM_CHANNEL_3);
  HAL_TIM_IC_Start_IT(&htim3, TIM_CHANNEL_4);

  uint32_t uid[3];
  uid[0] = HAL_GetUIDw0();
  uid[1] = HAL_GetUIDw1();
  uid[2] = HAL_GetUIDw2();
  uint32_t hashed_id = murmur3_32((uint8_t*)uid, 12, 0);

  FDCAN_TxHeaderTypeDef txGeneralStatus;
  txGeneralStatus.Identifier = BACK_PORCH_GENERAL_STATUS | g_device_id;
  txGeneralStatus.IdType = FDCAN_EXTENDED_ID;
  txGeneralStatus.TxFrameType = FDCAN_DATA_FRAME;
  txGeneralStatus.DataLength = FDCAN_DLC_BYTES_8;
  txGeneralStatus.ErrorStateIndicator = FDCAN_ESI_ACTIVE;
  txGeneralStatus.BitRateSwitch = FDCAN_BRS_OFF;
  txGeneralStatus.FDFormat = FDCAN_CLASSIC_CAN;
  txGeneralStatus.TxEventFifoControl = FDCAN_NO_TX_EVENTS;
  txGeneralStatus.MessageMarker = 0;

  FDCAN_TxHeaderTypeDef txSwVersion;
  txSwVersion.Identifier = BACK_PORCH_SW_VERSION | g_device_id;
  txSwVersion.IdType = FDCAN_EXTENDED_ID;
  txSwVersion.TxFrameType = FDCAN_DATA_FRAME;
  txSwVersion.DataLength = FDCAN_DLC_BYTES_8;
  txSwVersion.ErrorStateIndicator = FDCAN_ESI_ACTIVE;
  txSwVersion.BitRateSwitch = FDCAN_BRS_OFF;
  txSwVersion.FDFormat = FDCAN_CLASSIC_CAN;
  txSwVersion.TxEventFifoControl = FDCAN_NO_TX_EVENTS;
  txSwVersion.MessageMarker = 0;

  FDCAN_TxHeaderTypeDef txEncStatus;
  txEncStatus.Identifier = BACK_PORCH_ENCODER_STATUS | g_device_id;
  txEncStatus.IdType = FDCAN_EXTENDED_ID;
  txEncStatus.TxFrameType = FDCAN_DATA_FRAME;
  txEncStatus.DataLength = FDCAN_DLC_BYTES_8;
  txEncStatus.ErrorStateIndicator = FDCAN_ESI_ACTIVE;
  txEncStatus.BitRateSwitch = FDCAN_BRS_OFF;
  txEncStatus.FDFormat = FDCAN_CLASSIC_CAN;
  txEncStatus.TxEventFifoControl = FDCAN_NO_TX_EVENTS;
  txEncStatus.MessageMarker = 0;

  FDCAN_TxHeaderTypeDef txTofStatus;
  txTofStatus.Identifier = BACK_PORCH_TOF_STATUS | g_device_id;
  txTofStatus.IdType = FDCAN_EXTENDED_ID;
  txTofStatus.TxFrameType = FDCAN_DATA_FRAME;
  txTofStatus.DataLength = FDCAN_DLC_BYTES_8;
  txTofStatus.ErrorStateIndicator = FDCAN_ESI_ACTIVE;
  txTofStatus.BitRateSwitch = FDCAN_BRS_OFF;
  txTofStatus.FDFormat = FDCAN_CLASSIC_CAN;
  txTofStatus.TxEventFifoControl = FDCAN_NO_TX_EVENTS;
  txTofStatus.MessageMarker = 0;

  uint8_t TxData[8];

  ADC_ChannelConfTypeDef sConfig = {0};
  sConfig.Rank = ADC_REGULAR_RANK_1;
  sConfig.SamplingTime = ADC_SAMPLINGTIME_COMMON_1;

  /* Infinite loop */
  TickType_t xLastWakeTime = xTaskGetTickCount();
  for(;;)
  {
    vTaskDelayUntil(&xLastWakeTime, pdMS_TO_TICKS(100));

    uint32_t vref_mv = 3300;
    uint16_t voltage_mv = 0;
    uint8_t current_mA = 0;
    int8_t temp_c = -127;

    // Read VREFINT to calculate actual VREF+
    sConfig.Channel = ADC_CHANNEL_VREFINT;
    HAL_ADC_ConfigChannel(&hadc1, &sConfig);
    HAL_ADC_Start(&hadc1);
    if (HAL_ADC_PollForConversion(&hadc1, 10) == HAL_OK) {
      uint32_t vref_data = HAL_ADC_GetValue(&hadc1);
      if (vref_data > 0) {
        vref_mv = (uint32_t)VREFINT_CAL_VREF * (*VREFINT_CAL_ADDR) / vref_data;
      }
    }
    HAL_ADC_Stop(&hadc1);

    // Sanity check for vref_mv
    if (vref_mv < 2000 || vref_mv > 3600) vref_mv = 3300;

    // Read AN0 (VIN_MEASURE)
    sConfig.Channel = ADC_CHANNEL_0;
    HAL_ADC_ConfigChannel(&hadc1, &sConfig);
    HAL_ADC_Start(&hadc1);
    if (HAL_ADC_PollForConversion(&hadc1, 10) == HAL_OK) {
      uint32_t adc_val = HAL_ADC_GetValue(&hadc1);
      voltage_mv = (uint16_t)((adc_val * vref_mv * 11) / 4095);
    }
    HAL_ADC_Stop(&hadc1);

    // Read AN1 (CURRENT_5V)
    sConfig.Channel = ADC_CHANNEL_1;
    HAL_ADC_ConfigChannel(&hadc1, &sConfig);
    HAL_ADC_Start(&hadc1);
    if (HAL_ADC_PollForConversion(&hadc1, 10) == HAL_OK) {
      uint32_t adc_val = HAL_ADC_GetValue(&hadc1);
      uint32_t current_val = (uint32_t)((adc_val * (uint64_t)vref_mv * 40) / 4095) / 1000;
      current_mA = current_val > 255 ? 255 : (uint8_t)current_val;
    }
    HAL_ADC_Stop(&hadc1);

    // Read Internal Temperature Sensor
    sConfig.Channel = ADC_CHANNEL_TEMPSENSOR;
    HAL_ADC_ConfigChannel(&hadc1, &sConfig);
    HAL_ADC_Start(&hadc1);
    if (HAL_ADC_PollForConversion(&hadc1, 10) == HAL_OK) {
      uint32_t ts_data = HAL_ADC_GetValue(&hadc1);
      int32_t ts_data_scaled = (int32_t)ts_data * vref_mv / 3000;
      temp_c = (int8_t)((((int32_t)TEMPSENSOR_CAL2_TEMP - TEMPSENSOR_CAL1_TEMP) * (ts_data_scaled - (int32_t)*TEMPSENSOR_CAL1_ADDR))
                       / ((int32_t)*TEMPSENSOR_CAL2_ADDR - (int32_t)*TEMPSENSOR_CAL1_ADDR) + TEMPSENSOR_CAL1_TEMP);
    }
    HAL_ADC_Stop(&hadc1);

    FDCAN_ProtocolStatusTypeDef ProtocolStatus;
    HAL_FDCAN_GetProtocolStatus(&hfdcan1, &ProtocolStatus);
    if (ProtocolStatus.BusOff) {
      HAL_FDCAN_Start(&hfdcan1);
      HAL_GPIO_TogglePin(LED1_GPIO_Port, LED1_Pin);
    }

    // Populate TxData based on General Status message format
    TxData[0] = (uint8_t)(hashed_id & 0xFF);
    TxData[1] = (uint8_t)((hashed_id >> 8) & 0xFF);
    TxData[2] = (uint8_t)((hashed_id >> 16) & 0xFF);
    TxData[3] = (uint8_t)((hashed_id >> 24) & 0xFF);

    TxData[4] = current_mA;
    TxData[5] = (uint8_t)(voltage_mv & 0xFF);
    TxData[6] = (uint8_t)((voltage_mv >> 8) & 0xFF);
    TxData[7] = (uint8_t)temp_c;

    while (HAL_FDCAN_GetTxFifoFreeLevel(&hfdcan1) == 0) osDelay(1);
    HAL_FDCAN_AddMessageToTxFifoQ(&hfdcan1, &txGeneralStatus, TxData);

    // Populate TxData for SW Version
    TxData[0] = (uint8_t)(hashed_id & 0xFF);
    TxData[1] = (uint8_t)((hashed_id >> 8) & 0xFF);
    TxData[2] = (uint8_t)((hashed_id >> 16) & 0xFF);
    TxData[3] = (uint8_t)((hashed_id >> 24) & 0xFF);
    TxData[4] = 1 | (MAJOR_VERSION << 1) | (MINOR_VERSION << 4);
    TxData[5] = (uint8_t)(BUILD_NUMBER & 0xFF);
    TxData[6] = (uint8_t)((BUILD_NUMBER >> 8) & 0xFF);
    TxData[7] = (uint8_t)((BUILD_NUMBER >> 16) & 0xFF);

    while (HAL_FDCAN_GetTxFifoFreeLevel(&hfdcan1) == 0) osDelay(1);
    HAL_FDCAN_AddMessageToTxFifoQ(&hfdcan1, &txSwVersion, TxData);

    TxData[0] = (uint8_t)(pulse_width_1000deg & 0xFF);
    TxData[1] = (uint8_t)((pulse_width_1000deg >> 8) & 0xFF);

    TxData[2] = (uint8_t)(enc1_count & 0xFF);
    TxData[3] = (uint8_t)((enc1_count >> 8) & 0xFF);
    TxData[4] = 0;
    TxData[5] = 0;
    TxData[6] = 0;
    TxData[7] = 0;

    while (HAL_FDCAN_GetTxFifoFreeLevel(&hfdcan1) == 0) osDelay(1);
    HAL_FDCAN_AddMessageToTxFifoQ(&hfdcan1, &txEncStatus, TxData);

    uint8_t limit_switches = 0;
    // Bit 0: SDA (PA10), Bit 1: SCL (PA9)
    if (HAL_GPIO_ReadPin(GPIOA, GPIO_PIN_10) == GPIO_PIN_RESET) limit_switches |= 0x01;
    if (HAL_GPIO_ReadPin(GPIOA, GPIO_PIN_9) == GPIO_PIN_RESET) limit_switches |= 0x02;

    static uint32_t last_tofMsg = (8191 << 8) | 255; // Default/Invalid
    osMessageQueueGet(tofQHandle, &last_tofMsg, NULL, 0); // Non-blocking
    uint16_t tof_distance = (uint16_t)(last_tofMsg >> 8);
    uint8_t tof_status = (uint8_t)(last_tofMsg & 0xFF);

    TxData[0] = tof_status; // API Status
    TxData[1] = limit_switches;
    TxData[2] = (uint8_t)(tof_distance & 0xFF); // Distance low
    TxData[3] = (uint8_t)((tof_distance >> 8) & 0xFF); // Distance high
    TxData[4] = 0; // Ambient low
    TxData[5] = 0; // Ambient high
    TxData[6] = 0; // Signal low
    TxData[7] = 0; // Signal high

    while (HAL_FDCAN_GetTxFifoFreeLevel(&hfdcan1) == 0) osDelay(1);
    HAL_FDCAN_AddMessageToTxFifoQ(&hfdcan1, &txTofStatus, TxData);
  }
  /* USER CODE END canTxTask */
}

void tofTask(void *argument)
{
  /* USER CODE BEGIN tofTask */
  if (app_tof_init() != 0)
  {
    // TODO: Use the QWIIC port as a limit switch input.
    GPIO_InitTypeDef GPIO_InitStruct = {0};
    GPIO_InitStruct.Pin = GPIO_PIN_9 | GPIO_PIN_10;
    GPIO_InitStruct.Mode = GPIO_MODE_INPUT;
    GPIO_InitStruct.Pull = GPIO_PULLUP;
    GPIO_InitStruct.Speed = GPIO_SPEED_FREQ_LOW;
    HAL_GPIO_Init(GPIOA, &GPIO_InitStruct);
  }

  /* Infinite loop */
  TickType_t xLastWakeTime = xTaskGetTickCount();
  for(;;)
  {
    vTaskDelayUntil(&xLastWakeTime, pdMS_TO_TICKS(50));

    uint16_t distance = 8191;
    uint8_t status = 255;
    app_tof_read(&distance, &status);

    // Pack distance and status into a 32-bit msg
    uint32_t msg = ((uint32_t)distance << 8) | status;
    osMessageQueuePut(tofQHandle, &msg, 0, 0); // Non-blocking put
  }
  /* USER CODE END tofTask */
}

void HAL_TIM_PeriodElapsedCallback(TIM_HandleTypeDef *htim)
{
  if (htim->Instance == TIM6)
  {
    HAL_IncTick();
  }
}

void Error_Handler(void)
{
  __disable_irq();
  while (1)
  {
  }
}

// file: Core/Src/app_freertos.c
/* USER CODE BEGIN Header */
/**
  ******************************************************************************
  * File Name          : app_freertos.c
  * Description        : Code for freertos applications
  ******************************************************************************
  * @attention
  *
  * Copyright (c) 2026 STMicroelectronics.
  * All rights reserved.
  *
  * This software is licensed under terms that can be found in the LICENSE file
  * in the root directory of this software component.
  * If no LICENSE file comes with this software, it is provided AS-IS.
  *
  ******************************************************************************
  */
/* USER CODE END Header */

#include "FreeRTOS.h"
#include "task.h"
#include "main.h"

/* Hook prototypes */
void configureTimerForRunTimeStats(void);
unsigned long getRunTimeCounterValue(void);
void vApplicationStackOverflowHook(xTaskHandle xTask, signed char *pcTaskName);

/* USER CODE BEGIN 1 */
/* Functions needed when configGENERATE_RUN_TIME_STATS is on */
__weak void configureTimerForRunTimeStats(void)
{

}

__weak unsigned long getRunTimeCounterValue(void)
{
return 0;
}
/* USER CODE END 1 */

/* USER CODE BEGIN 4 */
void vApplicationStackOverflowHook(xTaskHandle xTask, signed char *pcTaskName)
{
   /* Run time stack overflow checking is performed if
   configCHECK_FOR_STACK_OVERFLOW is defined to 1 or 2. This hook function is
   called if a stack overflow is detected. */
}
/* USER CODE END 4 */
